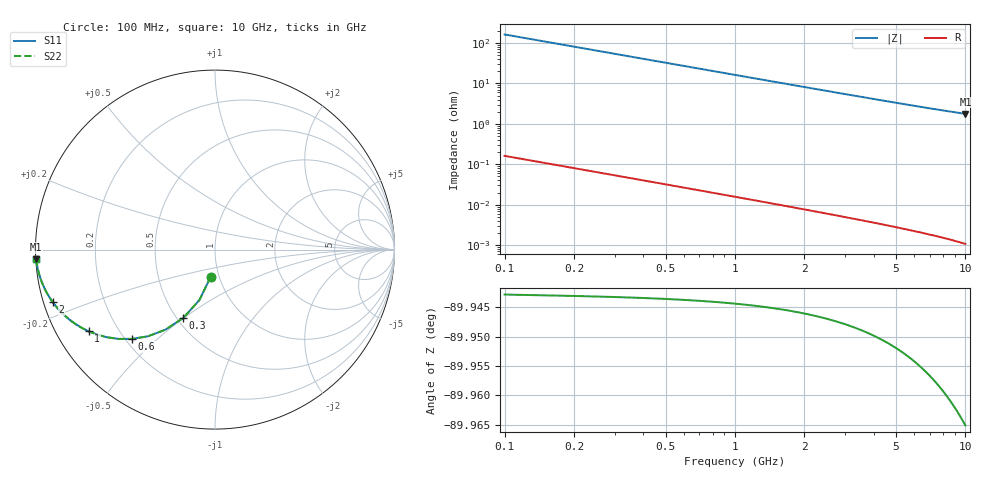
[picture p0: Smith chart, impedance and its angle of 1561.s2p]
# Hz S RI R 50.00
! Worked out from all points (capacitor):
!   100 points, 100 MHz to 10 GHz, reference 50 ohm
!   read as one part in shunt: C = 9.82 pF near 100 MHz
!   lowest |Z| = 1.77 ohm at 10 GHz (marker M1)
!   S11 on the Smith chart (normalised r, x): 100 MHz: 0.91, -0.28; 300 MHz: 0.54, -0.50; 600 MHz: 0.23, -0.42; 1 GHz: 0.10, -0.29; 2 GHz: 0.03, -0.16; 10 GHz: 0.00, -0.03
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1e8  -0.0234 -0.1506  0.9766 -0.1507  0.9766 -0.1507  -0.0234 -0.1506
2e8  -0.0871 -0.2814  0.9128 -0.2817  0.9128 -0.2817  -0.0871 -0.2814
3e8  -0.1766 -0.3807  0.8233 -0.3811  0.8233 -0.3811  -0.1766 -0.3807
4e8  -0.276 -0.4462  0.724 -0.4468  0.724 -0.4468  -0.276 -0.4462
5e8  -0.3731 -0.4828  0.6268 -0.4835  0.6268 -0.4835  -0.3731 -0.4828
6e8  -0.4614 -0.4976  0.5385 -0.4984  0.5385 -0.4984  -0.4614 -0.4976
7e8  -0.5382 -0.4975  0.4617 -0.4985  0.4617 -0.4985  -0.5382 -0.4975
8e8  -0.6035 -0.4881  0.3965 -0.4892  0.3965 -0.4892  -0.6035 -0.4881
9e8  -0.6582 -0.4732  0.3418 -0.4745  0.3418 -0.4745  -0.6582 -0.4732
1e9  -0.7038 -0.4553  0.2961 -0.4568  0.2961 -0.4568  -0.7038 -0.4553
1.1e9  -0.7419 -0.4363  0.258 -0.4379  0.258 -0.4379  -0.7419 -0.4363
1.3e9  -0.8005 -0.3981  0.1994 -0.4  0.1994 -0.4  -0.8005 -0.3981
1.5e9  -0.8423 -0.3629  0.1577 -0.365  0.1577 -0.365  -0.8423 -0.3629
1.8e9  -0.8849 -0.3174  0.1151 -0.32  0.1151 -0.32  -0.8849 -0.3174
2e9  -0.9046 -0.2917  0.0953 -0.2947  0.0953 -0.2947  -0.9046 -0.2917
2.7e9  -0.9453 -0.2249  0.0547 -0.2289  0.0547 -0.2289  -0.9453 -0.2249
3.4e9  -0.9648 -0.1813  0.0352 -0.1863  0.0352 -0.1863  -0.9648 -0.1813
4.2e9  -0.9766 -0.1474  0.0233 -0.1535  0.0233 -0.1535  -0.9766 -0.1474
5.1e9  -0.984 -0.1208  0.0159 -0.1284  0.0159 -0.1284  -0.984 -0.1208
6.7e9  -0.9907 -0.09  0.00916 -0.1  0.00916 -0.1  -0.9907 -0.09
8.4e9  -0.9941 -0.069  0.00573 -0.0818  0.00573 -0.0818  -0.9941 -0.069
1e10  -0.9959 -0.0551  0.00394 -0.0705  0.00394 -0.0705  -0.9959 -0.0551
